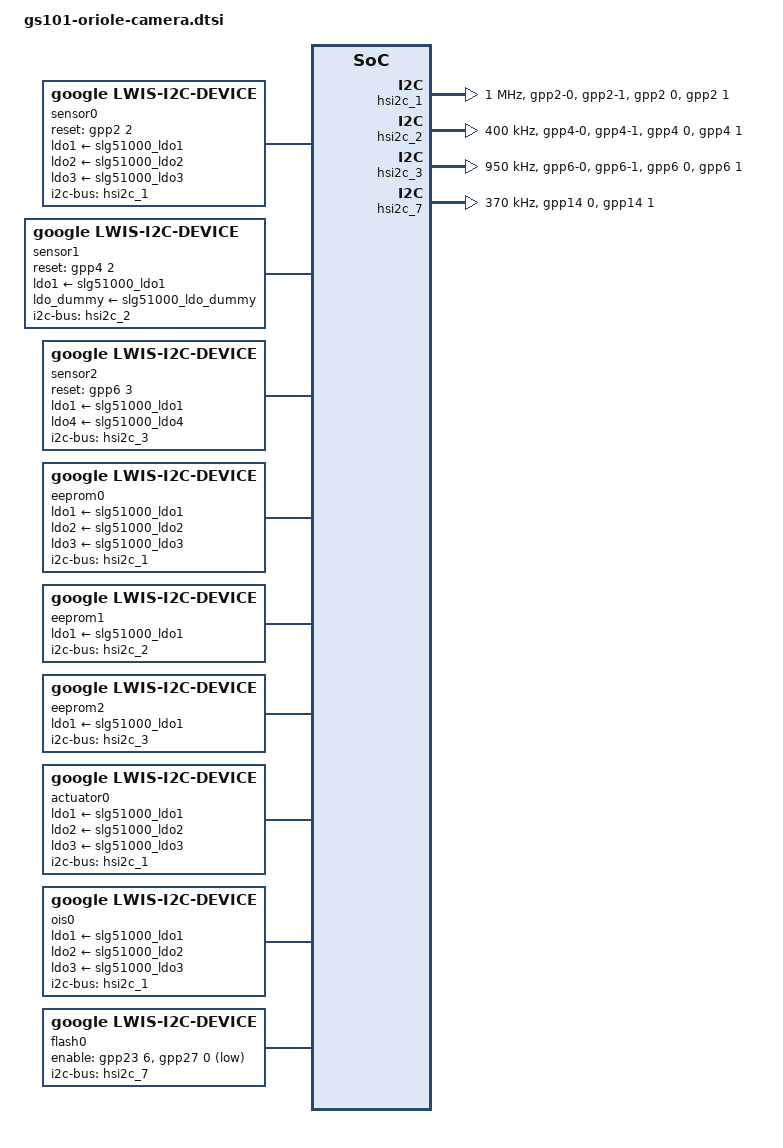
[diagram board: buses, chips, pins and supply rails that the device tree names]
// SPDX-License-Identifier: GPL-2.0-only
/*
 * gs101 camera lwis device tree source for oriole
 *
 * Copyright 2020 Google LLC.
 *
 */

#include <dt-bindings/clock/gs101.h>
#include <dt-bindings/gpio/gpio.h>
#include <dt-bindings/pinctrl/samsung.h>

&pinctrl_4 {
	hsi2c1_bus: hsi2c1-bus {
		samsung,pin-pud = <EXYNOS_PIN_PULL_UP>;
	};

	hsi2c1_bus_in: hsi2c1-bus-in {
		samsung,pins = "gpp2-0", "gpp2-1";
		samsung,pin-function = <EXYNOS_PIN_FUNC_INPUT>;
		samsung,pin-pud = <EXYNOS_PIN_PULL_NONE>;
		samsung,pin-drv = <GS101_PIN_DRV_2_5_MA>;
	};

	hsi2c2_bus: hsi2c2-bus {
		samsung,pin-pud = <EXYNOS_PIN_PULL_UP>;
	};

	hsi2c2_bus_in: hsi2c2-bus-in {
		samsung,pins = "gpp4-0", "gpp4-1";
		samsung,pin-function = <EXYNOS_PIN_FUNC_INPUT>;
		samsung,pin-pud = <EXYNOS_PIN_PULL_NONE>;
		samsung,pin-drv = <GS101_PIN_DRV_2_5_MA>;
	};

	hsi2c3_bus: hsi2c3-bus {
		samsung,pin-pud = <EXYNOS_PIN_PULL_UP>;
	};

	hsi2c3_bus_in: hsi2c3-bus-in {
		samsung,pins = "gpp6-0", "gpp6-1";
		samsung,pin-function = <EXYNOS_PIN_FUNC_INPUT>;
		samsung,pin-pud = <EXYNOS_PIN_PULL_NONE>;
		samsung,pin-drv = <GS101_PIN_DRV_2_5_MA>;
	};
};

&spi14_cs2{
	samsung,pin-con-pdn = <EXYNOS_PIN_PDN_PREV>;
	samsung,pin-pud-pdn = <EXYNOS_PIN_PULL_NONE>;
};

&hsi2c_1 {
	#address-cells = <1>;
	#size-cells = <0>;
	gpios = <&gpp2 0 0 &gpp2 1 0>;
	status = "okay";
	clock-frequency = <1000000>;
	samsung,reset-before-trans;

	pinctrl-names = "default","on_i2c","off_i2c";
	pinctrl-0 = <&hsi2c1_bus_in>;
	pinctrl-1 = <&hsi2c1_bus>;
	pinctrl-2 = <&hsi2c1_bus_in>;
};

&hsi2c_2 {
	#address-cells = <1>;
	#size-cells = <0>;
	gpios = <&gpp4 0 0 &gpp4 1 0>;
	status = "okay";
	clock-frequency = <400000>;
	samsung,reset-before-trans;

	pinctrl-names = "default","on_i2c","off_i2c";
	pinctrl-0 = <&hsi2c2_bus_in>;
	pinctrl-1 = <&hsi2c2_bus>;
	pinctrl-2 = <&hsi2c2_bus_in>;
};

&hsi2c_3 {
	#address-cells = <1>;
	#size-cells = <0>;
	gpios = <&gpp6 0 0 &gpp6 1 0>; /* RCAM_SCL RCAM_SDA */
	status = "okay";
	clock-frequency = <950000>;
	samsung,reset-before-trans;

	pinctrl-names = "default","on_i2c","off_i2c";
	pinctrl-0 = <&hsi2c3_bus_in>;
	pinctrl-1 = <&hsi2c3_bus>;
	pinctrl-2 = <&hsi2c3_bus_in>;
};

&hsi2c_7 {
	#address-cells = <1>;
	#size-cells = <0>;
	gpios = <&gpp14 0 0 &gpp14 1 0>;
	status = "okay";
	clock-frequency = <370000>;

	pinctrl-names = "default","on_i2c","off_i2c";
	pinctrl-0 = <&hsi2c7_bus &spi14_cs2>;
	pinctrl-1 = <&hsi2c7_bus>;
	pinctrl-2 = <&hsi2c7_bus>;
};

&sensor_mclk2_fn {
	samsung,pin-drv = <GS101_PIN_DRV_2_5_MA>;
};

&sensor_mclk2_out {
	samsung,pin-drv = <GS101_PIN_DRV_2_5_MA>;
};

/ {
	fragment@lwiscamera {
		target-path = "/";
		__overlay__ {
			/* REAR CAMERA GN1 */
			sensor0: sensor@0 {
				compatible = "google,lwis-i2c-device";

				/* Device node name */
				node-name = "sensor-gn1";

				/* I2C */
				i2c-bus = <&hsi2c_1>;
				i2c-addr = <0x3D>;

				/* Registers */
				reg-addr-bitwidth = <16>;
				reg-value-bitwidth = <16>;

				/* GPIOs */
				/* RCAM_RST_L GPP2[2] */
				reset-gpios = <&gpp2 2 GPIO_ACTIVE_HIGH>;

				/* Power supplies */
				ldo1-supply = <&slg51000_ldo1>;
				ldo2-supply = <&slg51000_ldo2>;
				ldo3-supply = <&slg51000_ldo3>;

				clocks =
					<&clock CIS_CLK3>,
					<&clock GATE_DFTMUX_CMU_CIS_CLK3>;
				clock-names =
					"CIS_CLK3",
					"GATE_DFTMUX_CMU_CIS_CLK3";
				clock-rates =
					<24000000>,
					<0>;

				/* MCLK Control */
				pinctrl-names = "mclk_on", "mclk_off";
				pinctrl-0 = <&sensor_mclk4_fn>;
				pinctrl-1 = <&sensor_mclk4_out>;

				/* Power up sequence */
				power-up-seqs =
					"ldo1",
					"ldo2",
					"ldo3",
					"reset",
					"mclk_on";
				power-up-seq-types =
					"regulator",
					"regulator",
					"regulator",
					"gpio",
					"pinctrl";
				power-up-seq-delays-us =
					<1000
					 1000
					 1000
					 1000
					 9000>;

				/* Power down sequence */
				power-down-seqs =
					"mclk_off",
					"reset",
					"ldo3",
					"ldo2",
					"ldo1";
				power-down-seq-types =
					"pinctrl",
					"gpio",
					"regulator",
					"regulator",
					"regulator";
				power-down-seq-delays-us =
					<1000
					 1000
					 2000
					 1000
					 1000>;
				transaction-thread-priority = <99>;
			};

			/* FRONT CAMERA IMX355 */
			sensor1: sensor@1 {
				compatible = "google,lwis-i2c-device";

				/* Device node name */
				node-name = "sensor-imx355";

				/* I2C */
				i2c-bus = <&hsi2c_2>;
				i2c-addr = <0x1A>;

				/* Registers */
				reg-addr-bitwidth = <16>;
				reg-value-bitwidth = <8>;

				/* GPIOs */
				reset-gpios = <&gpp4 2 GPIO_ACTIVE_HIGH>;

				/* Power supplies */
				ldo1-supply = <&slg51000_ldo1>;
				ldo_dummy-supply = <&slg51000_ldo_dummy>;

				clocks =
					<&clock CIS_CLK1>,
					<&clock GATE_DFTMUX_CMU_CIS_CLK1>;
				clock-names =
					"CIS_CLK1",
					"GATE_DFTMUX_CMU_CIS_CLK1";
				clock-rates =
					<24000000>,
					<0>;

				/* MCLK Control */
				pinctrl-names = "mclk_on", "mclk_off";
				pinctrl-0 = <&sensor_mclk2_fn>;
				pinctrl-1 = <&sensor_mclk2_out>;

				/* Power up sequence */
				power-up-seqs =
					"ldo1",
					"ldo_dummy",
					"mclk_on",
					"reset";
				power-up-seq-types =
					"regulator",
					"regulator",
					"pinctrl",
					"gpio";
				power-up-seq-delays-us =
					<1000
					 1000
					 1000
					 10000>;

				/* Power down sequence */
				power-down-seqs =
					"reset",
					"mclk_off",
					"ldo_dummy",
					"ldo1";
				power-down-seq-types =
					"gpio",
					"pinctrl",
					"regulator",
					"regulator";
				power-down-seq-delays-us =
					<1000
					 1000
					 1000
					 1000>;
				transaction-thread-priority = <99>;
			};

			/* REAR ULTRA WIDE CAMERA IMX386 */
			sensor2: sensor@2 {
				compatible = "google,lwis-i2c-device";

				/* Device node name */
				node-name = "sensor-imx386";

				/* I2C */
				i2c-bus = <&hsi2c_3>;
				i2c-addr = <0x1A>;

				/* Registers */
				reg-addr-bitwidth = <16>;
				reg-value-bitwidth = <8>;

				/* GPIOs */
				reset-gpios = <&gpp6 3 GPIO_ACTIVE_HIGH>;

				/* Power supplies */
				ldo1-supply = <&slg51000_ldo1>;
				ldo4-supply = <&slg51000_ldo4>;

				clocks =
					<&clock CIS_CLK0>,
					<&clock GATE_DFTMUX_CMU_CIS_CLK0>;
				clock-names =
					"CIS_CLK0",
					"GATE_DFTMUX_CMU_CIS_CLK0";
				clock-rates =
					<24000000>,
					<0>;

				/* MCLK Control */
				pinctrl-names = "mclk_on", "mclk_off";
				pinctrl-0 = <&sensor_mclk1_fn>;
				pinctrl-1 = <&sensor_mclk1_out>;

				/* Power up sequence */
				power-up-seqs =
					"ldo1",
					"ldo4",
					"mclk_on",
					"reset";
				power-up-seq-types =
					"regulator",
					"regulator",
					"pinctrl",
					"gpio";
				power-up-seq-delays-us =
					<3000
					 1000
					 1000
					 10000>;

				/* Power down sequence */
				power-down-seqs =
					"reset",
					"mclk_off",
					"ldo4",
					"ldo1";
				power-down-seq-types =
					"gpio",
					"pinctrl",
					"regulator",
					"regulator";
				power-down-seq-delays-us =
					<1000
					 1000
					 3000
					 1000>;
				transaction-thread-priority = <99>;
			};

			/* Eeprom lc898128 for gn1*/
			eeprom0: eeprom@0 {
				compatible = "google,lwis-i2c-device";

				/* Device node name */
				node-name = "eeprom-lc898128";

				/* I2C */
				i2c-bus = <&hsi2c_1>;
				i2c-addr = <0x24>;

				/* Registers */
				reg-addr-bitwidth = <16>;
				reg-value-bitwidth = <32>;

				/* Power supplies */
				ldo1-supply = <&slg51000_ldo1>;
				ldo2-supply = <&slg51000_ldo2>;
				ldo3-supply = <&slg51000_ldo3>;

				/* Power up sequence */
				power-up-seqs =
					"ldo1",
					"ldo2",
					"ldo3";
				power-up-seq-types =
					"regulator",
					"regulator",
					"regulator";
				power-up-seq-delays-us =
					<1000
					 1000
					 1000>;

				/* Power down sequence */
				power-down-seqs =
					"ldo3",
					"ldo2",
					"ldo1";
				power-down-seq-types =
					"regulator",
					"regulator",
					"regulator";
				power-down-seq-delays-us =
					<2000
					 1000
					 1000>;

			};

			/* Eeprom m24c64s for imx355 */
			eeprom1: eeprom@1 {
				compatible = "google,lwis-i2c-device";

				/* Device node name */
				node-name = "eeprom-m24c64s";

				/* I2C */
				i2c-bus = <&hsi2c_2>;
				i2c-addr = <0x51>;

				/* Registers */
				reg-addr-bitwidth = <16>;
				reg-value-bitwidth = <8>;

				/* Power supplies */
				ldo1-supply = <&slg51000_ldo1>;

				/* Power up sequence */
				power-up-seqs =
					"ldo1";
				power-up-seq-types =
					"regulator";
				power-up-seq-delays-us =
					<1000>;

				/* Power down sequence */
				power-down-seqs =
					"ldo1";
				power-down-seq-types =
					"regulator";
				power-down-seq-delays-us =
					<1000>;
			};

			/* Eeprom m24c64x for imx386 */
			eeprom2: eeprom@2 {
				compatible = "google,lwis-i2c-device";

				/* Device node name */
				node-name = "eeprom-m24c64x";

				/* I2C */
				i2c-bus = <&hsi2c_3>;
				i2c-addr = <0x50>;

				/* Registers */
				reg-addr-bitwidth = <16>;
				reg-value-bitwidth = <8>;

				/* Power supplies */
				ldo1-supply = <&slg51000_ldo1>;

				/* Power up sequence */
				power-up-seqs =
					"ldo1";
				power-up-seq-types =
					"regulator";
				power-up-seq-delays-us =
					<1000>;

				/* Power down sequence */
				power-down-seqs =
					"ldo1";
				power-down-seq-types =
					"regulator";
				power-down-seq-delays-us =
					<1000>;
			};

			/* Actuator ak7377 for gn1*/
			actuator0: actuator@0 {
				compatible = "google,lwis-i2c-device";

				/* Device node name */
				node-name = "act-ak7377";

				/* I2C */
				i2c-bus = <&hsi2c_1>;
				i2c-addr = <0xC>;

				/* Registers */
				reg-addr-bitwidth = <8>;
				reg-value-bitwidth = <8>;

				/* Power supplies */
				ldo1-supply = <&slg51000_ldo1>;
				ldo2-supply = <&slg51000_ldo2>;
				ldo3-supply = <&slg51000_ldo3>;

				/* Power up sequence */
				power-up-seqs =
					"ldo1",
					"ldo2",
					"ldo3";
				power-up-seq-types =
					"regulator",
					"regulator",
					"regulator";
				power-up-seq-delays-us =
					<1000
					 1000
					 1000>;

				/* Power down sequence */
				power-down-seqs =
					"ldo3",
					"ldo2",
					"ldo1";
				power-down-seq-types =
					"regulator",
					"regulator",
					"regulator";
				power-down-seq-delays-us =
					<2000
					 1000
					 1000>;

				/* Thread priority */
				periodic-io-thread-priority = <99>;
			};

			/* Ois lc898128 for gn1*/
			ois0: ois@0 {
				compatible = "google,lwis-i2c-device";

				/* Device node name */
				node-name = "ois-lc898128";

				/* I2C */
				i2c-bus = <&hsi2c_1>;
				i2c-addr = <0x24>;

				/* Registers */
				reg-addr-bitwidth = <16>;
				reg-value-bitwidth = <32>;

				/* Power supplies */
				ldo1-supply = <&slg51000_ldo1>;
				ldo2-supply = <&slg51000_ldo2>;
				ldo3-supply = <&slg51000_ldo3>;

				/* Power up sequence */
				power-up-seqs =
					"ldo1",
					"ldo2",
					"ldo3";
				power-up-seq-types =
					"regulator",
					"regulator",
					"regulator";
				power-up-seq-delays-us =
					<1000
					 1000
					 1000>;

				/* Power down sequence */
				power-down-seqs =
					"ldo3",
					"ldo2",
					"ldo1";
				power-down-seq-types =
					"regulator",
					"regulator",
					"regulator";
				power-down-seq-delays-us =
					<2000
					 1000
					 1000>;

				/* Thread priority */
				periodic-io-thread-priority = <99>;
			};

			flash0: flash@0 {
				compatible = "google,lwis-i2c-device";

				/* Device node name */
				node-name = "flash-lm3644";

				/* I2C */
				i2c-bus = <&hsi2c_7>;
				i2c-addr = <0x63>;

				/* Registers */
				reg-addr-bitwidth = <8>;
				reg-value-bitwidth = <8>;

				/* Power Management hibernation (deep sleep) */
				/* 1 : enable, 0 : disable */
				pm-hibernation = <0>;

				/* GPIOs */
				/* HW_ENABLE GPP23[6] */
				/* FLASH_STROBE GPP27[0] */
				enable-gpios =
					<&gpp23 6 GPIO_ACTIVE_HIGH
					 &gpp27 0 GPIO_ACTIVE_LOW>;
			};
		};
	};
};
